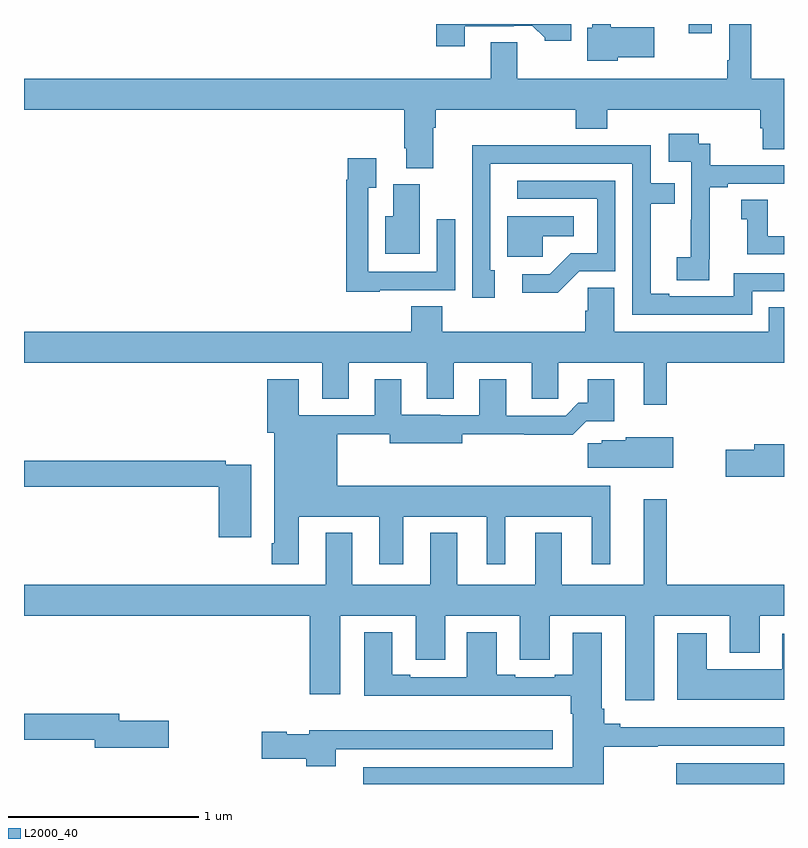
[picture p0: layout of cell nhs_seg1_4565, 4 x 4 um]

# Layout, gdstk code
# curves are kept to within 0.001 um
import gdstk
lib = gdstk.Library(unit=1e-6, precision=1e-09)
def R(c, l, rs):  # rectangles x0, y0, x1, y1
    for r in rs: c.add(gdstk.rectangle(r[:2], r[2:], *l))
def P(c, l, *ps):  # polygons
    for p in ps: c.add(gdstk.Polygon(p, *l))
L2000_40 = (2000, 40)

nhs_seg1_4565 = lib.new_cell('nhs_seg1_4565')
R(nhs_seg1_4565, L2000_40, [(362.432,532.199,363,532.309), (362.498,536.151,362.62,536.199)])
P(nhs_seg1_4565, L2000_40, [(361.153,535.652),(361.166,535.652),(361.166,535.748),(361.904,535.748),(361.904,535.649),(362.069,535.649),(362.069,535.748),(362.876,535.748),(362.876,535.65),(362.888,535.65),(362.888,535.54),(363,535.54),(363,535.912),(362.828,535.912),(362.828,536.199),(362.712,536.199),(362.712,536.008),(362.7,536.008),(362.7,535.912),(361.597,535.912),(361.597,536.102),(361.457,536.102),(361.457,535.912),(359,535.912),(359,535.748),(361.001,535.748),(361.001,535.546),(361.013,535.546),(361.013,535.441),(361.153,535.441)],
  [(361.321,536.187),(361.577,536.187),(361.577,536.19),(361.676,536.19),(361.74,536.126),(361.74,536.111),(361.879,536.111),(361.879,536.199),(361.169,536.199),(361.169,536.082),(361.321,536.082)],
  [(362.124,536.024),(362.317,536.024),(362.317,536.182),(362.088,536.182),(362.088,536.199),(361.992,536.199),(361.992,536.178),(361.964,536.178),(361.964,536.006),(362.124,536.006)],
  [(362.606,534.961),(362.608,534.961),(362.608,535.339),(362.704,535.339),(362.704,535.359),(363,535.359),(363,535.455),(362.612,535.455),(362.612,535.569),(362.55,535.569),(362.55,535.621),(362.394,535.621),(362.394,535.473),(362.511,535.473),(362.511,535.169),(362.51,535.169),(362.51,534.972),(362.436,534.972),(362.436,534.85),(362.606,534.85)],
  [(362.832,534.792),(363,534.792),(363,534.888),(362.736,534.888),(362.736,534.765),(362.395,534.765),(362.395,534.78),(362.299,534.78),(362.299,535.254),(362.426,535.254),(362.426,535.362),(362.298,535.362),(362.298,535.56),(361.82,535.56),(361.82,535.562),(361.358,535.562),(361.358,535.258),(361.359,535.258),(361.359,534.759),(361.477,534.759),(361.477,534.903),(361.455,534.903),(361.455,535.464),(362.202,535.464),(362.202,534.669),(362.832,534.669)],
  [(360.873,534.798),(361.269,534.798),(361.269,535.171),(361.173,535.171),(361.173,534.894),(360.813,534.894),(360.813,535.336),(360.853,535.336),(360.853,535.492),(360.705,535.492),(360.705,535.379),(360.697,535.379),(360.697,534.791),(360.873,534.791)],
  [(361.923,534.897),(362.112,534.897),(362.112,535.374),(361.596,535.374),(361.596,535.278),(362.016,535.278),(362.016,534.993),(361.878,534.993),(361.767,534.882),(361.623,534.882),(361.623,534.785),(361.81,534.785)],
  [(361.084,535.356),(360.944,535.356),(360.944,535.186),(360.902,535.186),(360.902,534.989),(361.084,534.989)],
  [(363,535.083),(362.914,535.083),(362.914,535.274),(362.774,535.274),(362.774,535.171),(362.807,535.171),(362.807,534.987),(363,534.987)],
  [(361.731,535.082),(361.894,535.082),(361.894,535.186),(361.544,535.186),(361.544,534.975),(361.731,534.975)],
  [(361.121,534.227),(361.261,534.227),(361.261,534.416),(361.673,534.416),(361.673,534.226),(361.812,534.226),(361.812,534.416),(362.261,534.416),(362.261,534.195),(362.383,534.195),(362.383,534.416),(363,534.416),(363,534.707),(362.921,534.707),(362.921,534.58),(362.107,534.58),(362.107,534.812),(361.968,534.812),(361.968,534.689),(361.955,534.689),(361.955,534.58),(361.202,534.58),(361.202,534.713),(361.037,534.713),(361.037,534.58),(359,534.58),(359,534.416),(360.569,534.416),(360.569,534.226),(360.709,534.226),(360.709,534.416),(361.121,534.416)],
  [(360.445,533.606),(360.869,533.606),(360.869,533.355),(360.997,533.355),(360.997,533.606),(361.436,533.606),(361.436,533.355),(361.534,533.355),(361.534,533.606),(361.988,533.606),(361.988,533.355),(362.086,533.355),(362.086,533.77),(360.649,533.77),(360.649,534.04),(360.926,534.04),(360.926,533.993),(361.306,533.993),(361.306,534.04),(361.633,534.04),(361.633,534.038),(361.889,534.038),(361.959,534.108),(362.107,534.108),(362.107,534.328),(361.967,534.328),(361.967,534.205),(361.918,534.205),(361.851,534.138),(361.537,534.138),(361.537,534.328),(361.397,534.328),(361.397,534.141),(360.985,534.142),(360.985,534.328),(360.845,534.328),(360.845,534.141),(360.445,534.141),(360.445,534.328),(360.281,534.328),(360.281,534.048),(360.317,534.048),(360.317,533.467),(360.305,533.467),(360.305,533.355),(360.445,533.355)],
  [(362.416,534.025),(362.166,534.025),(362.166,534.007),(362.04,534.007),(362.04,533.993),(361.968,533.993),(361.968,533.864),(362.416,533.864)],
  [(363,533.988),(362.843,533.988),(362.843,533.958),(362.694,533.958),(362.694,533.816),(363,533.816)],
  [(360.196,533.88),(360.062,533.88),(360.062,533.9),(359,533.9),(359,533.764),(360.026,533.764),(360.026,533.499),(360.196,533.499)],
  [(362.317,533.084),(362.714,533.084),(362.714,532.89),(362.872,532.89),(362.872,533.084),(363,533.084),(363,533.248),(362.383,533.248),(362.383,533.698),(362.261,533.698),(362.261,533.248),(361.831,533.248),(361.831,533.521),(361.691,533.521),(361.691,533.248),(361.279,533.248),(361.279,533.521),(361.139,533.521),(361.139,533.248),(360.727,533.248),(360.727,533.521),(360.587,533.521),(360.587,533.248),(359,533.248),(359,533.084),(360.503,533.084),(360.503,532.671),(360.664,532.671),(360.664,533.084),(361.061,533.084),(361.061,532.854),(361.216,532.854),(361.216,533.084),(361.61,533.084),(361.61,532.854),(361.768,532.854),(361.768,533.084),(362.165,533.084),(362.165,532.641),(362.317,532.641)],
  [(362.052,532.396),(362.336,532.396),(362.336,532.401),(363,532.401),(363,532.498),(362.137,532.498),(362.137,532.517),(362.054,532.517),(362.054,532.594),(362.041,532.594),(362.041,532.996),(361.889,532.996),(361.889,532.774),(361.793,532.774),(361.793,532.761),(361.585,532.761),(361.585,532.774),(361.489,532.774),(361.489,532.999),(361.331,532.999),(361.331,532.761),(361.033,532.761),(361.033,532.774),(360.937,532.774),(360.937,532.999),(360.791,532.999),(360.791,532.664),(361.877,532.664),(361.877,532.568),(361.889,532.568),(361.889,532.287),(360.785,532.287),(360.785,532.199),(362.052,532.199)],
  [(363,532.99),(362.99,532.99),(362.99,532.804),(362.593,532.804),(362.593,532.993),(362.438,532.993),(362.438,532.643),(363,532.643)],
  [(359.761,532.532),(359.5,532.532),(359.5,532.568),(359,532.568),(359,532.432),(359.372,532.432),(359.372,532.39),(359.761,532.39)],
  [(360.64,532.383),(361.783,532.383),(361.783,532.481),(360.501,532.481),(360.501,532.462),(360.383,532.462),(360.383,532.475),(360.252,532.475),(360.252,532.333),(360.485,532.333),(360.485,532.292),(360.64,532.292)])

lib.write_gds('nhs_seg1_4565.gds')
